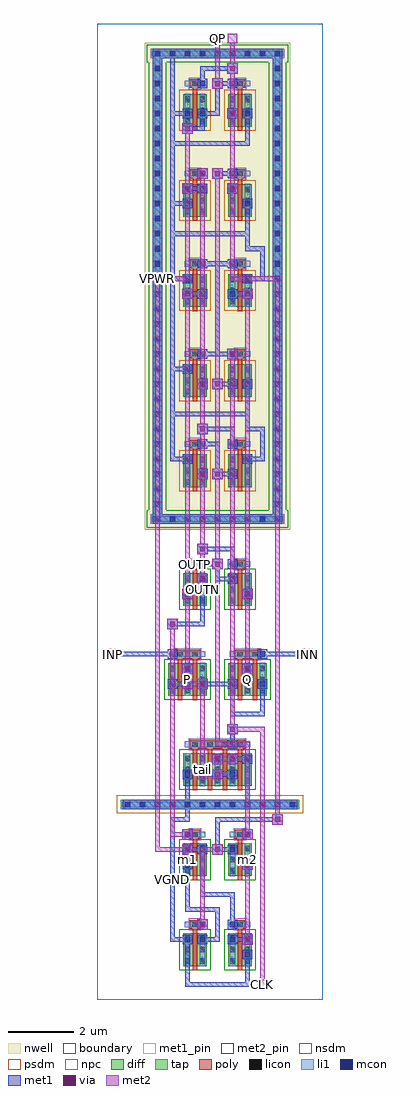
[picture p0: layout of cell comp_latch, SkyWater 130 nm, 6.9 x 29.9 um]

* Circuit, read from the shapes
.subckt comp_latch CLK INN INP OUTN OUTP P Q QN QP VGND VPWR m1 m2 tail
XM1 P INP tail VGND sky130_fd_pr__nfet_01v8 w=1 l=0.15 m=2
XM2 m1 QN VGND VGND sky130_fd_pr__nfet_01v8 w=1 l=0.15
XM3 QP OUTN m1 VGND sky130_fd_pr__nfet_01v8 w=1 l=0.15
XM4 tail CLK VGND VGND sky130_fd_pr__nfet_01v8 w=1 l=0.15 m=4
XM5 OUTN OUTP P VGND sky130_fd_pr__nfet_01v8 w=1 l=0.15
XM6 VGND QP m2 VGND sky130_fd_pr__nfet_01v8 w=1 l=0.15
XM7 m2 OUTP QN VGND sky130_fd_pr__nfet_01v8 w=1 l=0.15
XM8 Q INN tail VGND sky130_fd_pr__nfet_01v8 w=1 l=0.15 m=2
XM9 Q OUTN OUTP VGND sky130_fd_pr__nfet_01v8 w=1 l=0.15
XM10 OUTN OUTP VPWR VPWR sky130_fd_pr__pfet_01v8 w=1 l=0.15
XM11 OUTN CLK VPWR VPWR sky130_fd_pr__pfet_01v8 w=1 l=0.15
XM12 P CLK VPWR VPWR sky130_fd_pr__pfet_01v8 w=1 l=0.15
XM13 QP OUTN VPWR VPWR sky130_fd_pr__pfet_01v8 w=1 l=0.15
XM14 QP QN VPWR VPWR sky130_fd_pr__pfet_01v8 w=1 l=0.15
XM15 VPWR OUTN OUTP VPWR sky130_fd_pr__pfet_01v8 w=1 l=0.15
XM16 VPWR CLK OUTP VPWR sky130_fd_pr__pfet_01v8 w=1 l=0.15
XM17 VPWR CLK Q VPWR sky130_fd_pr__pfet_01v8 w=1 l=0.15
XM18 VPWR OUTP QN VPWR sky130_fd_pr__pfet_01v8 w=1 l=0.15
XM19 VPWR QP QN VPWR sky130_fd_pr__pfet_01v8 w=1 l=0.15
.ends

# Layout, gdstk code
import gdstk
lib = gdstk.Library(unit=1e-6, precision=1e-09)
def R(c, l, rs):  # rectangles x0, y0, x1, y1
    for r in rs: c.add(gdstk.rectangle(r[:2], r[2:], *l))
def A(c, l, x, y, w, h, nx, ny, dx, dy):  # array of equal rectangles
    R(c, l, [(x+i*dx, y+j*dy, x+i*dx+w, y+j*dy+h) for i in range(nx) for j in range(ny)])
nwell = (64, 20)
diff = (65, 20)
tap = (65, 44)
poly = (66, 20)
licon = (66, 44)
li1 = (67, 20)
mcon = (67, 44)
met1_pin = (68, 16)
met1 = (68, 20)
via = (68, 44)
met2_pin = (69, 16)
met2 = (69, 20)
nsdm = (93, 44)
psdm = (94, 20)
npc = (95, 20)
boundary = (235, 4)

comp_latch = lib.new_cell('comp_latch')
R(comp_latch, nwell, [(1.455,14.395,5.905,29.305)])
A(comp_latch, diff, 2.635, 15.7, 0.71, 1, 1, 5, 0, 2.76)
A(comp_latch, diff, 4.015, 15.7, 0.71, 1, 1, 5, 0, 2.76)
R(comp_latch, diff, [(2.635,1.025,3.345,2.025), (4.015,1.025,4.725,2.025), (2.635,3.785,3.345,4.785), (4.015,3.785,4.725,4.785), (2.635,6.545,4.725,7.545), (2.175,9.305,3.345,10.305), (4.015,9.305,5.185,10.305), (2.635,12.065,3.345,13.065), (4.015,12.065,4.725,13.065)])
R(comp_latch, tap, [(0.715,5.835,6.185,6.125), (1.635,14.575,5.725,14.865), (1.695,14.575,1.985,29.125), (5.375,14.575,5.665,29.125), (1.635,28.835,5.725,29.125)])
A(comp_latch, poly, 2.915, 6.415, 0.15, 1.405, 4, 1, 0.46, 0)
A(comp_latch, poly, 2.915, 15.57, 0.15, 1.45, 1, 5, 0, 2.76)
A(comp_latch, poly, 4.295, 15.57, 0.15, 1.45, 1, 5, 0, 2.76)
A(comp_latch, poly, 2.825, 16.885, 0.33, 0.27, 1, 5, 0, 2.76)
A(comp_latch, poly, 4.205, 16.885, 0.33, 0.27, 1, 5, 0, 2.76)
R(comp_latch, poly, [(2.915,0.895,3.065,2.3), (4.295,0.895,4.445,2.3), (2.825,2.165,3.155,2.435), (4.205,2.165,4.535,2.435), (2.915,3.655,3.065,5.06), (4.295,3.655,4.445,5.06), (2.825,4.925,3.155,5.195), (4.205,4.925,4.535,5.195), (2.825,7.685,4.535,7.955), (2.455,9.175,2.605,10.58), (2.915,9.175,3.065,10.58), (4.295,9.175,4.445,10.58), (4.755,9.175,4.905,10.58), (2.365,10.445,3.155,10.715), (4.205,10.445,4.995,10.715), (2.915,11.935,3.065,13.34), (4.295,11.935,4.445,13.34), (2.825,13.205,3.155,13.475), (4.205,13.205,4.535,13.475)])
A(comp_latch, licon, 2.675, 1.1, 0.17, 0.17, 1, 3, 0, 0.34)
A(comp_latch, licon, 3.135, 1.1, 0.17, 0.17, 1, 3, 0, 0.34)
A(comp_latch, licon, 4.055, 1.1, 0.17, 0.17, 1, 3, 0, 0.34)
A(comp_latch, licon, 4.515, 1.1, 0.17, 0.17, 1, 3, 0, 0.34)
A(comp_latch, licon, 2.675, 3.86, 0.17, 0.17, 1, 3, 0, 0.34)
A(comp_latch, licon, 3.135, 3.86, 0.17, 0.17, 1, 3, 0, 0.34)
A(comp_latch, licon, 4.055, 3.86, 0.17, 0.17, 1, 3, 0, 0.34)
A(comp_latch, licon, 4.515, 3.86, 0.17, 0.17, 1, 3, 0, 0.34)
A(comp_latch, licon, 0.835, 5.895, 0.17, 0.17, 12, 1, 0.46, 0)
A(comp_latch, licon, 2.675, 6.62, 0.17, 0.17, 5, 3, 0.46, 0.34)
A(comp_latch, licon, 2.905, 7.735, 0.17, 0.17, 4, 1, 0.46, 0)
A(comp_latch, licon, 2.215, 9.38, 0.17, 0.17, 3, 3, 0.46, 0.34)
A(comp_latch, licon, 4.055, 9.38, 0.17, 0.17, 3, 3, 0.46, 0.34)
A(comp_latch, licon, 2.675, 12.14, 0.17, 0.17, 1, 3, 0, 0.34)
A(comp_latch, licon, 3.135, 12.14, 0.17, 0.17, 1, 3, 0, 0.34)
A(comp_latch, licon, 4.055, 12.14, 0.17, 0.17, 1, 3, 0, 0.34)
A(comp_latch, licon, 4.515, 12.14, 0.17, 0.17, 1, 3, 0, 0.34)
A(comp_latch, licon, 1.755, 14.635, 0.17, 0.17, 9, 2, 0.46, 14.26)
A(comp_latch, licon, 1.755, 15.095, 0.17, 0.17, 1, 30, 0, 0.46)
A(comp_latch, licon, 5.435, 15.095, 0.17, 0.17, 1, 30, 0, 0.46)
A(comp_latch, licon, 2.675, 15.775, 0.17, 0.17, 1, 3, 0, 0.34)
A(comp_latch, licon, 3.135, 15.775, 0.17, 0.17, 1, 3, 0, 0.34)
A(comp_latch, licon, 4.055, 15.775, 0.17, 0.17, 1, 3, 0, 0.34)
A(comp_latch, licon, 4.515, 15.775, 0.17, 0.17, 1, 3, 0, 0.34)
A(comp_latch, licon, 2.905, 16.935, 0.17, 0.17, 1, 5, 0, 2.76)
A(comp_latch, licon, 4.285, 16.935, 0.17, 0.17, 1, 5, 0, 2.76)
A(comp_latch, licon, 2.675, 18.535, 0.17, 0.17, 1, 3, 0, 0.34)
A(comp_latch, licon, 3.135, 18.535, 0.17, 0.17, 1, 3, 0, 0.34)
A(comp_latch, licon, 4.055, 18.535, 0.17, 0.17, 1, 3, 0, 0.34)
A(comp_latch, licon, 4.515, 18.535, 0.17, 0.17, 1, 3, 0, 0.34)
A(comp_latch, licon, 2.675, 21.295, 0.17, 0.17, 1, 3, 0, 0.34)
A(comp_latch, licon, 3.135, 21.295, 0.17, 0.17, 1, 3, 0, 0.34)
A(comp_latch, licon, 4.055, 21.295, 0.17, 0.17, 1, 3, 0, 0.34)
A(comp_latch, licon, 4.515, 21.295, 0.17, 0.17, 1, 3, 0, 0.34)
A(comp_latch, licon, 2.675, 24.055, 0.17, 0.17, 1, 3, 0, 0.34)
A(comp_latch, licon, 3.135, 24.055, 0.17, 0.17, 1, 3, 0, 0.34)
A(comp_latch, licon, 4.055, 24.055, 0.17, 0.17, 1, 3, 0, 0.34)
A(comp_latch, licon, 4.515, 24.055, 0.17, 0.17, 1, 3, 0, 0.34)
A(comp_latch, licon, 2.675, 26.815, 0.17, 0.17, 1, 3, 0, 0.34)
A(comp_latch, licon, 3.135, 26.815, 0.17, 0.17, 1, 3, 0, 0.34)
A(comp_latch, licon, 4.055, 26.815, 0.17, 0.17, 1, 3, 0, 0.34)
A(comp_latch, licon, 4.515, 26.815, 0.17, 0.17, 1, 3, 0, 0.34)
R(comp_latch, licon, [(2.905,2.215,3.075,2.385), (4.285,2.215,4.455,2.385), (2.905,4.975,3.075,5.145), (4.285,4.975,4.455,5.145), (2.445,10.495,2.615,10.665), (2.905,10.495,3.075,10.665), (4.285,10.495,4.455,10.665), (4.745,10.495,4.915,10.665), (2.905,13.255,3.075,13.425), (4.285,13.255,4.455,13.425)])
A(comp_latch, li1, 2.675, 6.54, 0.17, 1.01, 5, 1, 0.46, 0)
A(comp_latch, li1, 2.215, 9.3, 0.17, 1.01, 3, 1, 0.46, 0)
A(comp_latch, li1, 4.055, 9.3, 0.17, 1.01, 3, 1, 0.46, 0)
A(comp_latch, li1, 2.675, 15.695, 0.17, 1.01, 1, 5, 0, 2.76)
A(comp_latch, li1, 3.135, 15.695, 0.17, 1.01, 1, 5, 0, 2.76)
A(comp_latch, li1, 4.055, 15.695, 0.17, 1.01, 1, 5, 0, 2.76)
A(comp_latch, li1, 4.515, 15.695, 0.17, 1.01, 1, 5, 0, 2.76)
A(comp_latch, li1, 2.675, 16.935, 0.63, 0.17, 1, 5, 0, 2.76)
A(comp_latch, li1, 4.055, 16.935, 0.63, 0.17, 1, 5, 0, 2.76)
R(comp_latch, li1, [(2.675,1.02,2.845,2.03), (3.135,1.02,3.305,2.03), (4.055,1.02,4.225,2.03), (4.515,1.02,4.685,2.03), (2.675,2.215,3.305,2.385), (4.055,2.215,4.685,2.385), (2.675,3.78,2.845,4.79), (3.135,3.78,3.305,4.79), (4.055,3.78,4.225,4.79), (4.515,3.78,4.685,4.79), (2.675,4.975,3.305,5.145), (4.055,4.975,4.685,5.145), (0.755,5.895,6.145,6.065), (2.675,7.735,4.685,7.905), (2.215,10.495,3.305,10.665), (4.055,10.495,5.145,10.665), (2.675,12.06,2.845,13.07), (3.135,12.06,3.305,13.07), (4.055,12.06,4.225,13.07), (4.515,12.06,4.685,13.07), (2.675,13.255,3.305,13.425), (4.055,13.255,4.685,13.425), (1.675,14.635,5.685,14.805), (1.755,14.635,1.925,29.065), (5.435,14.635,5.605,29.065), (1.675,28.895,5.685,29.065)])
A(comp_latch, mcon, 3.135, 2.215, 0.17, 0.17, 1, 3, 0, 2.3)
A(comp_latch, mcon, 4.055, 2.215, 0.17, 0.17, 1, 3, 0, 2.3)
A(comp_latch, mcon, 0.835, 5.895, 0.17, 0.17, 12, 1, 0.46, 0)
A(comp_latch, mcon, 2.215, 9.575, 0.17, 0.17, 4, 1, 0.92, 0)
A(comp_latch, mcon, 1.755, 14.635, 0.17, 0.17, 9, 2, 0.46, 14.26)
A(comp_latch, mcon, 1.755, 15.095, 0.17, 0.17, 1, 30, 0, 0.46)
A(comp_latch, mcon, 5.435, 15.095, 0.17, 0.17, 1, 30, 0, 0.46)
A(comp_latch, mcon, 2.675, 16.475, 0.17, 0.17, 1, 3, 0, 2.76)
R(comp_latch, mcon, [(4.515,1.295,4.685,1.465), (2.675,1.755,2.845,1.925), (3.135,1.755,3.305,1.925), (4.055,1.755,4.225,1.925), (2.675,4.055,2.845,4.225), (4.515,4.055,4.685,4.225), (2.675,4.975,2.845,5.145), (4.515,4.975,4.685,5.145), (2.675,6.815,2.845,6.985), (3.595,7.275,3.765,7.445), (4.515,7.275,4.685,7.445), (4.055,7.735,4.225,7.905), (2.675,10.035,2.845,10.205), (4.515,10.035,4.685,10.205), (2.215,10.495,2.385,10.665), (4.975,10.495,5.145,10.665), (2.675,12.335,2.845,12.505), (4.515,12.335,4.685,12.505), (3.135,12.795,3.305,12.965), (4.055,12.795,4.225,12.965), (3.135,13.255,3.305,13.425), (4.055,13.255,4.225,13.425), (3.135,16.015,3.305,16.185), (4.055,16.015,4.225,16.185), (4.515,16.475,4.685,16.645), (3.135,16.935,3.305,17.105), (4.055,16.935,4.225,17.105), (3.135,18.775,3.305,18.945), (4.055,18.775,4.225,18.945), (4.515,18.775,4.685,18.945), (3.135,19.695,3.305,19.865), (4.055,19.695,4.225,19.865), (3.135,21.535,3.305,21.705), (4.055,21.535,4.225,21.705), (4.515,21.995,4.685,22.165), (3.135,22.455,3.305,22.625), (4.055,22.455,4.225,22.625), (2.675,24.295,2.845,24.465), (4.515,24.295,4.685,24.465), (3.135,24.755,3.305,24.925), (4.055,24.755,4.225,24.925), (3.135,25.215,3.305,25.385), (4.055,25.215,4.225,25.385), (2.675,27.055,2.845,27.225), (3.135,27.055,3.305,27.225), (4.055,27.055,4.225,27.225), (4.515,27.055,4.685,27.225), (3.135,27.975,3.305,28.145), (4.055,27.975,4.225,28.145)])
R(comp_latch, met1_pin, [(2.23,1.77,2.37,5.59), (1.77,22.01,1.91,22.15)])
A(comp_latch, met1, 2.23, 1.77, 0.6, 0.14, 3, 1, 0.92, 0)
A(comp_latch, met1, 3.075, 2.155, 0.29, 0.29, 1, 3, 0, 2.3)
A(comp_latch, met1, 3.995, 2.155, 0.29, 0.29, 1, 3, 0, 2.3)
A(comp_latch, met1, 2.155, 9.515, 0.29, 0.29, 4, 1, 0.92, 0)
A(comp_latch, met1, 3.52, 13.18, 0.32, 0.32, 1, 3, 0, 2.76)
A(comp_latch, met1, 3.06, 15.94, 0.32, 0.32, 1, 3, 0, 1.38)
A(comp_latch, met1, 2.615, 16.415, 0.29, 0.29, 1, 3, 0, 2.76)
A(comp_latch, met1, 3.61, 22.47, 0.6, 0.14, 1, 3, 0, 2.76)
R(comp_latch, met1, [(2.69,0.39,2.83,1.91), (2.69,0.39,4.67,0.53), (4.53,0.39,4.67,1.45), (4.455,1.235,4.745,1.525), (4.44,1.68,4.76,2), (2.615,1.695,2.905,1.985), (3.075,1.695,3.365,1.985), (3.995,1.695,4.285,1.985), (2.23,1.77,2.37,5.59), (3.61,1.77,3.75,2.83), (3.06,2.14,3.38,2.46), (4.07,2.23,4.21,3.29), (2.69,2.69,3.75,2.83), (2.69,2.69,2.83,4.21), (3.15,3.15,4.21,3.29), (3.15,3.15,3.29,4.67), (4.44,3.98,4.76,4.3), (2.615,3.995,2.905,4.285), (4.455,3.995,4.745,4.285), (2.6,4.44,2.92,4.76), (3.52,4.44,3.84,4.76), (2.69,4.53,3.29,4.67), (3.61,4.53,4.21,4.67), (3.61,4.53,3.75,5.59), (2.6,4.9,2.92,5.22), (4.44,4.9,4.76,5.22), (2.615,4.915,2.905,5.205), (4.455,4.915,4.745,5.205), (5.36,5.36,5.68,5.68), (2.23,5.45,2.83,5.59), (2.69,5.45,2.83,6.05), (3.61,5.45,5.59,5.59), (0.775,5.835,6.125,6.125), (2.69,5.91,2.83,6.97), (2.69,5.91,4.67,6.05), (4.53,5.91,4.67,6.05), (4.53,5.91,4.67,7.43), (3.06,6.74,3.38,7.06), (3.52,6.74,3.84,7.06), (2.615,6.755,2.905,7.045), (3.61,6.83,4.21,6.97), (3.52,7.2,3.84,7.52), (3.98,7.2,4.3,7.52), (3.535,7.215,3.825,7.505), (4.455,7.215,4.745,7.505), (4.07,7.29,4.67,7.43), (3.995,7.675,4.285,7.965), (4.07,7.75,4.21,8.35), (3.98,8.12,4.3,8.44), (4.07,8.67,5.13,8.81), (4.07,8.67,4.21,9.73), (4.99,8.67,5.13,9.73), (2.6,9.5,2.92,9.82), (3.06,9.5,3.38,9.82), (2.23,9.59,2.83,9.73), (3.15,9.59,4.21,9.73), (2.6,9.96,2.92,10.28), (4.44,9.96,4.76,10.28), (2.615,9.975,2.905,10.265), (4.455,9.975,4.745,10.265), (0.3,10.42,0.62,10.74), (6.28,10.42,6.6,10.74), (2.155,10.435,2.445,10.725), (4.915,10.435,5.205,10.725), (0.39,10.51,2.37,10.65), (4.99,10.51,6.51,10.65), (2.14,11.34,2.46,11.66), (2.23,11.43,3.29,11.57), (3.15,11.43,3.29,12.95), (2.6,12.26,2.92,12.58), (4.44,12.26,4.76,12.58), (2.615,12.275,2.905,12.565), (4.455,12.275,4.745,12.565), (3.06,12.72,3.38,13.04), (3.075,12.735,3.365,13.025), (3.995,12.735,4.285,13.025), (3.61,12.81,4.21,12.95), (3.61,12.81,3.75,13.41), (3.075,13.195,3.365,13.485), (3.995,13.195,4.285,13.485), (3.15,13.27,3.75,13.41), (4.07,13.27,4.21,13.87), (3.06,13.64,3.38,13.96), (3.15,13.73,4.21,13.87), (1.695,14.575,5.665,14.865), (1.695,14.575,1.985,29.125), (5.375,14.575,5.665,29.125), (3.075,15.955,3.365,16.245), (3.995,15.955,4.285,16.245), (3.61,16.03,4.21,16.17), (3.61,16.03,3.75,17.09), (4.455,16.415,4.745,16.705), (2.23,16.49,2.83,16.63), (2.23,16.49,2.37,19.39), (4.53,16.49,5.13,16.63), (4.99,16.49,5.13,17.55), (3.075,16.875,3.365,17.165), (3.995,16.875,4.285,17.165), (3.15,16.95,3.75,17.09), (4.07,16.95,4.21,17.55), (3.15,17.41,4.21,17.55), (4.53,17.41,5.13,17.55), (4.53,17.41,4.67,18.01), (2.23,17.87,4.67,18.01), (4.53,17.87,4.67,18.93), (3.075,18.715,3.365,19.005), (3.995,18.715,4.285,19.005), (4.455,18.715,4.745,19.005), (3.61,18.79,4.21,18.93), (2.23,19.25,2.83,19.39), (2.23,19.25,2.37,22.15), (3.98,19.62,4.3,19.94), (3.075,19.635,3.365,19.925), (3.995,19.635,4.285,19.925), (3.15,19.71,4.21,19.85), (3.61,19.71,3.75,22.61), (2.6,21.46,2.92,21.78), (4.44,21.46,4.76,21.78), (3.075,21.475,3.365,21.765), (3.995,21.475,4.285,21.765), (2.69,21.55,3.29,21.69), (4.07,21.55,4.67,21.69), (4.455,21.935,4.745,22.225), (1.77,22.01,1.91,22.15), (1.77,22.01,2.83,22.15), (2.23,22.01,2.37,24.45), (4.53,22.01,5.13,22.15), (4.99,22.01,5.13,23.07), (3.075,22.395,3.365,22.685), (3.995,22.395,4.285,22.685), (3.15,22.47,3.75,22.61), (4.53,22.93,5.13,23.07), (4.53,22.93,4.67,23.53), (2.23,23.39,4.67,23.53), (4.53,23.39,4.67,24.45), (2.615,24.235,2.905,24.525), (4.455,24.235,4.745,24.525), (2.23,24.31,2.83,24.45), (2.23,24.31,2.37,27.21), (2.6,24.68,2.92,25), (3.98,24.68,4.3,25), (3.075,24.695,3.365,24.985), (3.995,24.695,4.285,24.985), (2.69,24.77,3.29,24.91), (3.06,25.14,3.38,25.46), (3.52,25.14,3.84,25.46), (3.075,25.155,3.365,25.445), (3.995,25.155,4.285,25.445), (2.23,26.15,4.67,26.29), (4.53,26.15,4.67,27.21), (2.6,26.52,2.92,26.84), (2.69,26.61,3.29,26.75), (3.15,26.61,3.29,27.21), (3.98,26.98,4.3,27.3), (2.615,26.995,2.905,27.285), (3.075,26.995,3.365,27.285), (3.995,26.995,4.285,27.285), (4.455,26.995,4.745,27.285), (2.23,27.07,2.83,27.21), (2.23,27.07,2.37,29.05), (3.15,27.07,3.75,27.21), (3.61,27.07,3.75,28.13), (3.52,27.9,3.84,28.22), (3.075,27.915,3.365,28.205), (3.995,27.915,4.285,28.205), (3.15,27.99,3.29,28.59), (3.98,28.36,4.3,28.68), (3.15,28.45,4.21,28.59), (1.695,28.835,5.665,29.125), (2.23,28.91,2.37,29.05)])
A(comp_latch, via, 3.605, 13.265, 0.15, 0.15, 1, 3, 0, 2.76)
A(comp_latch, via, 3.145, 16.025, 0.15, 0.15, 1, 3, 0, 1.38)
R(comp_latch, via, [(4.525,1.765,4.675,1.915), (3.145,2.225,3.295,2.375), (4.525,4.065,4.675,4.215), (2.685,4.525,2.835,4.675), (3.605,4.525,3.755,4.675), (2.685,4.985,2.835,5.135), (4.525,4.985,4.675,5.135), (5.445,5.445,5.595,5.595), (3.145,6.825,3.295,6.975), (3.605,6.825,3.755,6.975), (3.605,7.285,3.755,7.435), (4.065,7.285,4.215,7.435), (4.065,8.205,4.215,8.355), (2.685,9.585,2.835,9.735), (3.145,9.585,3.295,9.735), (2.685,10.045,2.835,10.195), (4.525,10.045,4.675,10.195), (0.385,10.505,0.535,10.655), (6.365,10.505,6.515,10.655), (2.225,11.425,2.375,11.575), (2.685,12.345,2.835,12.495), (4.525,12.345,4.675,12.495), (3.145,12.805,3.295,12.955), (3.145,13.725,3.295,13.875), (4.065,19.705,4.215,19.855), (2.685,21.545,2.835,21.695), (4.525,21.545,4.675,21.695), (2.685,24.765,2.835,24.915), (4.065,24.765,4.215,24.915), (3.145,25.225,3.295,25.375), (3.605,25.225,3.755,25.375), (2.685,26.605,2.835,26.755), (4.065,27.065,4.215,27.215), (3.605,27.985,3.755,28.135), (4.065,28.445,4.215,28.595)])
R(comp_latch, met2_pin, [(4.91,0.31,5.21,0.61), (0.31,10.43,0.61,10.73), (6.29,10.43,6.59,10.73), (3.53,29.29,3.83,29.59), (3.99,29.29,4.29,29.59)])
A(comp_latch, met2, 3.52, 13.18, 0.32, 0.32, 1, 3, 0, 2.76)
A(comp_latch, met2, 3.06, 15.94, 0.32, 0.32, 1, 3, 0, 1.38)
R(comp_latch, met2, [(4.91,0.31,5.21,0.61), (4.99,0.39,5.13,0.53), (4.99,0.39,5.13,8.35), (4.44,1.68,4.76,2), (4.53,1.77,4.67,4.21), (3.06,2.14,3.38,2.46), (3.15,2.23,3.29,4.67), (4.44,3.98,4.76,4.3), (2.6,4.44,2.92,4.76), (3.52,4.44,3.84,4.76), (1.77,4.53,2.83,4.67), (1.77,4.53,1.91,22.15), (3.15,4.53,3.75,4.67), (2.6,4.9,2.92,5.22), (4.44,4.9,4.76,5.22), (2.23,4.99,2.83,5.13), (2.23,4.99,2.37,11.57), (4.53,4.99,4.67,7.89), (5.36,5.36,5.68,5.68), (5.45,5.45,5.59,22.15), (3.06,6.74,3.38,7.06), (3.52,6.74,3.84,7.06), (3.15,6.83,3.75,6.97), (3.15,6.83,3.29,9.73), (3.52,7.2,3.84,7.52), (3.98,7.2,4.3,7.52), (3.61,7.29,4.21,7.43), (3.61,7.75,3.75,13.41), (3.61,7.75,4.67,7.89), (3.98,8.12,4.3,8.44), (4.07,8.21,5.13,8.35), (4.07,8.21,4.21,19.85), (2.6,9.5,2.92,9.82), (3.06,9.5,3.38,9.82), (2.69,9.59,3.29,9.73), (2.6,9.96,2.92,10.28), (4.44,9.96,4.76,10.28), (2.69,10.05,2.83,12.49), (4.53,10.05,4.67,12.49), (0.3,10.42,0.62,10.74), (6.28,10.42,6.6,10.74), (0.31,10.43,0.61,10.73), (6.29,10.43,6.59,10.73), (0.39,10.51,0.53,10.65), (6.37,10.51,6.51,10.65), (2.14,11.34,2.46,11.66), (2.6,12.26,2.92,12.58), (4.44,12.26,4.76,12.58), (2.69,12.35,2.83,21.69), (4.53,12.35,4.67,21.69), (3.06,12.72,3.38,13.04), (3.15,12.81,3.29,13.87), (3.61,13.27,3.75,16.17), (3.06,13.64,3.38,13.96), (3.15,13.73,3.29,16.17), (3.15,16.03,3.29,18.93), (3.61,16.03,3.75,18.93), (3.15,18.79,3.29,25.37), (3.61,18.79,3.75,25.37), (3.98,19.62,4.3,19.94), (2.6,21.46,2.92,21.78), (4.44,21.46,4.76,21.78), (1.77,22.01,2.83,22.15), (2.69,22.01,2.83,24.91), (4.07,22.01,4.21,24.91), (4.07,22.01,5.59,22.15), (2.6,24.68,2.92,25), (3.98,24.68,4.3,25), (2.69,24.77,2.83,26.75), (4.07,24.77,4.21,27.21), (3.06,25.14,3.38,25.46), (3.52,25.14,3.84,25.46), (2.6,26.52,2.92,26.84), (3.98,26.98,4.3,27.3), (4.07,27.07,4.21,29.51), (3.52,27.9,3.84,28.22), (3.61,27.99,3.75,29.51), (3.98,28.36,4.3,28.68), (3.53,29.29,3.83,29.59), (3.99,29.29,4.29,29.59), (3.61,29.37,3.75,29.51), (4.07,29.37,4.21,29.51)])
R(comp_latch, nsdm, [(2.51,0.9,3.47,2.15), (3.89,0.9,4.85,2.15), (2.51,3.66,3.47,4.91), (3.89,3.66,4.85,4.91), (2.51,6.42,4.85,7.67), (2.05,9.18,3.47,10.43), (3.89,9.18,5.31,10.43), (2.51,11.94,3.47,13.19), (3.89,11.94,4.85,13.19), (1.51,14.45,5.85,14.99), (1.57,14.99,2.11,28.71), (5.25,14.99,5.79,28.71), (1.51,28.71,5.85,29.25)])
A(comp_latch, psdm, 2.51, 15.575, 0.96, 1.25, 1, 5, 0, 2.76)
A(comp_latch, psdm, 3.89, 15.575, 0.96, 1.25, 1, 5, 0, 2.76)
R(comp_latch, psdm, [(0.59,5.71,6.31,6.25)])
A(comp_latch, npc, 2.805, 16.835, 0.37, 0.37, 1, 5, 0, 2.76)
A(comp_latch, npc, 4.185, 16.835, 0.37, 0.37, 1, 5, 0, 2.76)
R(comp_latch, npc, [(2.805,2.115,3.175,2.485), (4.185,2.115,4.555,2.485), (2.805,4.875,3.175,5.245), (4.185,4.875,4.555,5.245), (2.805,7.635,4.555,8.005), (2.345,10.395,3.175,10.765), (4.185,10.395,5.015,10.765), (2.805,13.155,3.175,13.525), (4.185,13.155,4.555,13.525)])
R(comp_latch, boundary, [(0,0,6.9,29.9)])
comp_latch.add(gdstk.Label('tail', (3.22,7.045), layer=67, texttype=5))
comp_latch.add(gdstk.Label('P', (2.76,9.805), layer=67, texttype=5))
comp_latch.add(gdstk.Label('Q', (4.6,9.805), layer=67, texttype=5))
comp_latch.add(gdstk.Label('OUTP', (2.99,13.34), layer=67, texttype=5))
comp_latch.add(gdstk.Label('OUTN', (3.22,12.565), layer=67, texttype=5))
comp_latch.add(gdstk.Label('m1', (2.76,4.285), layer=67, texttype=5))
comp_latch.add(gdstk.Label('m2', (4.6,4.285), layer=67, texttype=5))
comp_latch.add(gdstk.Label('VPWR', (1.84,22.08), layer=68, texttype=5))
comp_latch.add(gdstk.Label('VGND', (2.3,3.68), layer=68, texttype=5))
comp_latch.add(gdstk.Label('CLK', (5.06,0.46), layer=69, texttype=5))
comp_latch.add(gdstk.Label('INP', (0.46,10.58), layer=69, texttype=5))
comp_latch.add(gdstk.Label('INN', (6.44,10.58), layer=69, texttype=5))
comp_latch.add(gdstk.Label('QP', (3.68,29.44), layer=69, texttype=5))
comp_latch.add(gdstk.Label('QN', (4.14,29.44), layer=69, texttype=5))
comp_latch.add(gdstk.Label('VPWR', (1.84,22.08), layer=68, texttype=16))
comp_latch.add(gdstk.Label('VGND', (2.3,3.68), layer=68, texttype=16))
comp_latch.add(gdstk.Label('CLK', (5.06,0.46), layer=69, texttype=16))
comp_latch.add(gdstk.Label('INP', (0.46,10.58), layer=69, texttype=16))
comp_latch.add(gdstk.Label('INN', (6.44,10.58), layer=69, texttype=16))
comp_latch.add(gdstk.Label('QP', (3.68,29.44), layer=69, texttype=16))
comp_latch.add(gdstk.Label('QN', (4.14,29.44), layer=69, texttype=16))

lib.write_gds('comp_latch.gds')
